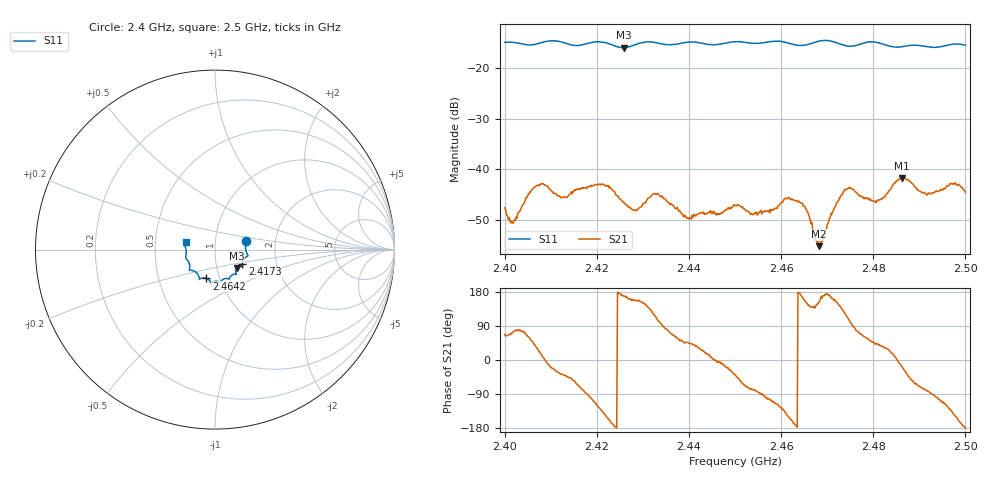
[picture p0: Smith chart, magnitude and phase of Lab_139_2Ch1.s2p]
# Hz S RI R 50
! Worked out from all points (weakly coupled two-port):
!   601 points, 2.4 GHz to 2.5 GHz, reference 50 ohm
!   highest |S21| = -41.71 dB at 2.4862 GHz (marker M1); lowest = -55.2 dB at 2.4682 GHz (marker M2)
!   lowest |S11| = -15.9 dB at 2.4258 GHz (marker M3), VSWR 1.38, Z = 62.2 - j13.2 ohm
!   |S11| at or under -10 dB: start of sweep to end of sweep
!   S12 and S22 are empty: the file has one direction only
!   S11 on the Smith chart (normalised r, x): 2.4 GHz: 1.41, +0.14; 2.4173 GHz: 1.34, -0.23; 2.4642 GHz: 0.86, -0.29; 2.5 GHz: 0.72, +0.06
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2.4e9  0.1735 0.0494  0.00158 0.00385  0 0  0 0
2.401833e9  0.1754 0.0419  0.000795 0.0028  0 0  0 0
2.408e9  0.1779 -0.0213  0.00694 0.00173  0 0  0 0
2.412667e9  0.176 -0.039  0.0041 -0.00326  0 0  0 0
2.416667e9  0.1525 -0.075  0.00154 -0.00627  0 0  0 0
2.417333e9  0.1521 -0.0824  0.000705 -0.00649  0 0  0 0
2.422e9  0.1514 -0.0945  -0.00574 -0.00362  0 0  0 0
2.425833e9  0.1213 -0.1037  -0.00465 0.000875  0 0  0 0
2.4285e9  0.1153 -0.128  -0.00366 0.00145  0 0  0 0
2.433333e9  0.1126 -0.1366  -0.00136 0.00546  0 0  0 0
2.44e9  0.0797 -0.1634  0.0023 0.00225  0 0  0 0
2.45e9  0.0294 -0.1807  0.00342 -0.00273  0 0  0 0
2.453833e9  0.0114 -0.1761  0.000753 -0.00348  0 0  0 0
2.464167e9  -0.048 -0.1609  -0.00464 0.000539  0 0  0 0
2.466667e9  -0.0762 -0.1595  -0.00225 0.00196  0 0  0 0
2.468167e9  -0.0853 -0.1646  -0.00152 0.000826  0 0  0 0
2.474e9  -0.0975 -0.1358  -0.00311 0.00542  0 0  0 0
2.480167e9  -0.1428 -0.1131  0.00342 0.00337  0 0  0 0
2.483333e9  -0.1404 -0.0897  0.00543 0.00276  0 0  0 0
2.486167e9  -0.1509 -0.0617  0.00787 -0.00236  0 0  0 0
2.491167e9  -0.1615 -0.0332  0.00135 -0.00565  0 0  0 0
2.5e9  -0.1637 0.0417  -0.00589 -3.04e-05  0 0  0 0
